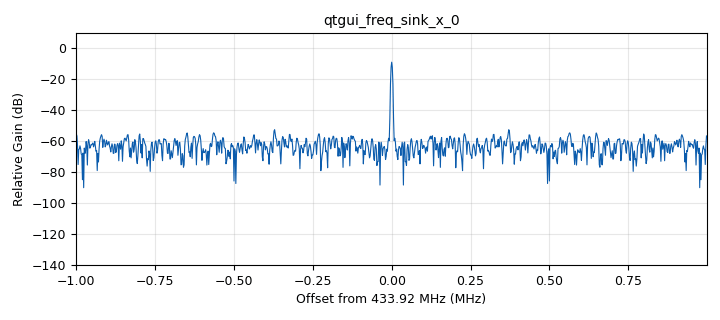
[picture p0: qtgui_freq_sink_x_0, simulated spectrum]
options:
  parameters:
    generate_options: qt_gui
    generator_class_name: PythonQtGuiGenerator
    generator_module: gnuradio.grc.workflows.python_qt_gui
    id: Radio_relay
    output_language: python
    title: DoorBell_Lab
  states: {}

blocks:
- name: bit_rate
  id: variable
  parameters:
    value: '10'
  states: {}
- name: samp_rate
  id: variable
  parameters:
    value: 2e6
  states: {}
- name: analog_noise_source_x_0
  id: analog_noise_source_x
  parameters:
    amp: '0.05'
    noise_type: analog.GR_GAUSSIAN
    seed: '0'
    type: float
  states: {}
- name: analog_sig_source_x_0
  id: analog_sig_source_x
  parameters:
    amp: '1'
    freq: '0'
    offset: '0'
    phase: '0'
    samp_rate: samp_rate
    type: float
    waveform: analog.GR_COS_WAVE
  states: {}
- name: blocks_add_xx_0
  id: blocks_add_xx
  parameters:
    type: float
  states: {}
- name: blocks_multiply_xx_0
  id: blocks_multiply_xx
  parameters:
    type: float
  states: {}
- name: blocks_repeat_0
  id: blocks_repeat
  parameters:
    interp: '500000'
    type: float
  states: {}
- name: blocks_throttle2_0
  id: blocks_throttle2
  parameters:
    samples_per_second: samp_rate
    type: float
  states: {}
- name: blocks_vector_source_x_0
  id: blocks_vector_source_x
  parameters:
    repeat: 'True'
    type: float
    vector: |-
      [
      1,1,1,1,1,1,1,1,
      1,0,1,0,1,0,1,0,
      1,1,0,0,1,0,0,1,

      0,0,0,0,0,0,0,0,0,0,
      0,0,0,0,0,0,0,0,0,0,
      0,0,0,0,0,0,0,0,0,0,
      0,0,0,0,0,0,0,0,0,0,
      0,0,0,0,0,0,0,0,0,0,
      0,0,0,0,0,0,0,0,0,0,
      0,0,0,0,0,0,0,0,0,0
      ]
  states: {}
- name: low_pass_filter_0
  id: low_pass_filter
  parameters:
    cutoff_freq: '1000000'
    decim: '1'
    gain: '1'
    samp_rate: samp_rate
    type: fir_filter_fff
    width: '25000'
    win: window.WIN_HAMMING
  states: {}
- name: qtgui_freq_sink_x_0
  id: qtgui_freq_sink_x
  parameters:
    bw: samp_rate
    fc: 433.92e6
    fftsize: '1024'
    type: float
  states: {}
- name: qtgui_waterfall_sink_x_0
  id: qtgui_waterfall_sink_x
  parameters:
    alias: DoorBell Blip
    bw: samp_rate
    fc: 433.92e6
    fftsize: '1024'
    type: float
    wintype: window.WIN_HAMMING
  states: {}

connections:
- [analog_noise_source_x_0, '0', blocks_add_xx_0, '1']
- [analog_sig_source_x_0, '0', blocks_multiply_xx_0, '0']
- [blocks_add_xx_0, '0', low_pass_filter_0, '0']
- [blocks_multiply_xx_0, '0', blocks_throttle2_0, '0']
- [blocks_repeat_0, '0', blocks_multiply_xx_0, '1']
- [blocks_throttle2_0, '0', blocks_add_xx_0, '0']
- [blocks_throttle2_0, '0', qtgui_waterfall_sink_x_0, '0']
- [blocks_vector_source_x_0, '0', blocks_repeat_0, '0']
- [low_pass_filter_0, '0', qtgui_freq_sink_x_0, '0']

metadata:
  file_format: 1
  grc_version: 3.10.12.0
